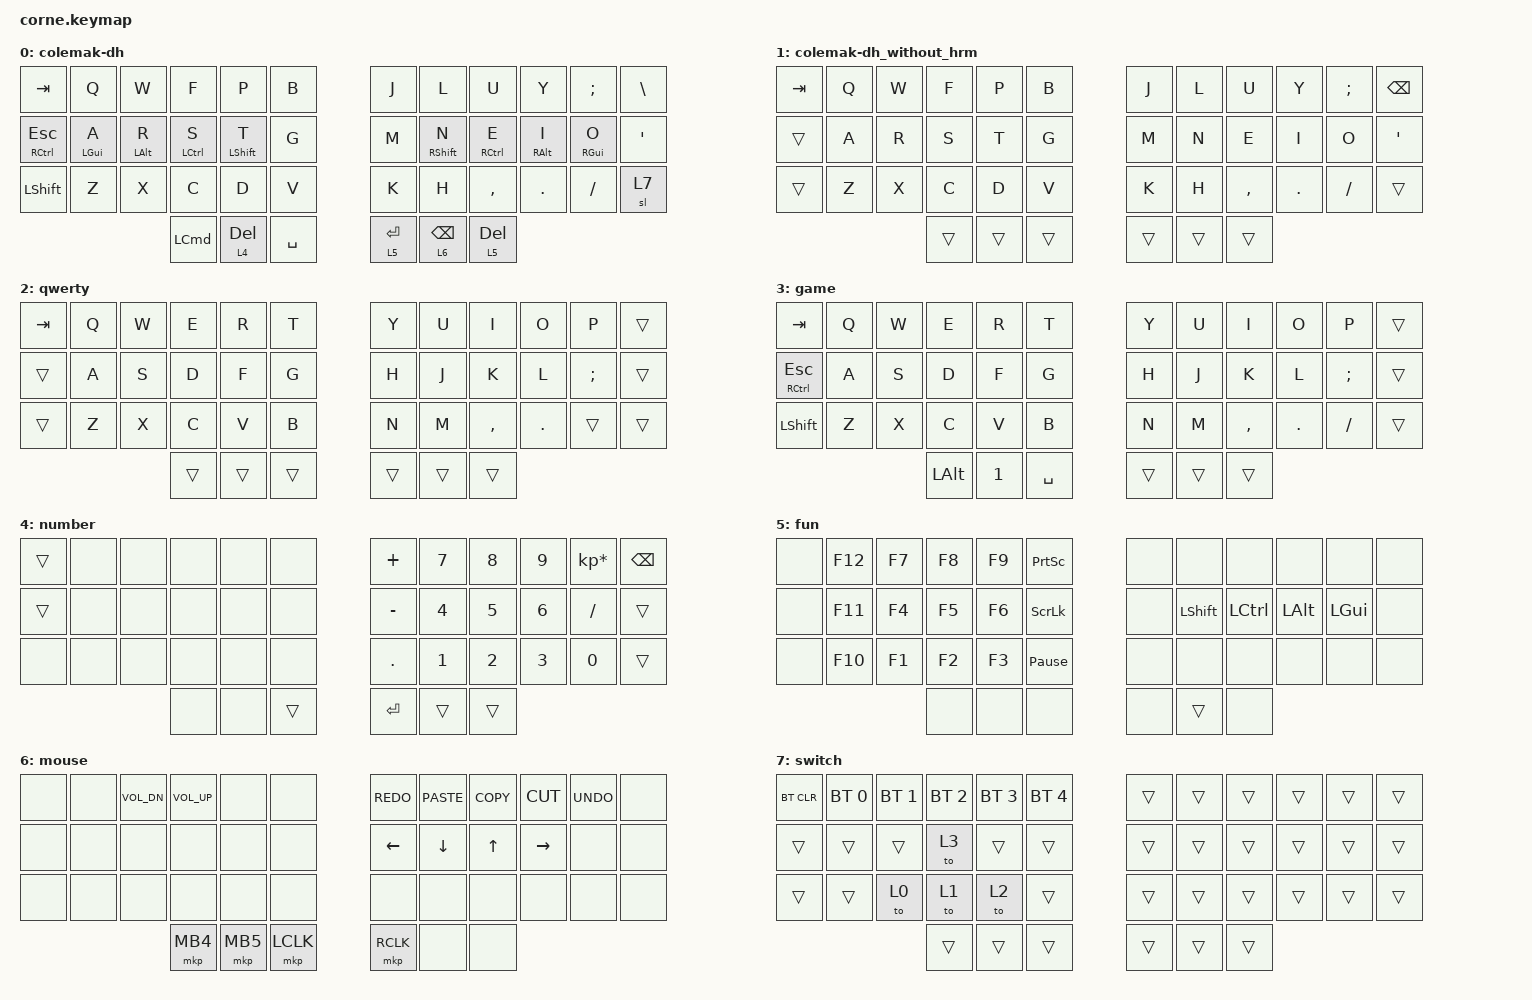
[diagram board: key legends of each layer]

#ifndef ZMK_BEHAVIORS_KEEP_ALL
#define ZMK_BEHAVIORS_KEEP_ALL
#endif
#define ZMK_MOUSE_DEFAULT_MOVE_VAL 1500  // 600
#define ZMK_MOUSE_DEFAULT_SCRL_VAL 20    // 10

#include <dt-bindings/zmk/pointing.h>
#include <behaviors.dtsi>
#include <dt-bindings/zmk/bt.h>
#include <dt-bindings/zmk/keys.h>



/ {
    combos {
        compatible = "zmk,combos";

        bracket {
            bindings = <&kp LEFT_PARENTHESIS>;
            key-positions = <19 20>;
        };

        bracket_r {
            bindings = <&kp RIGHT_PARENTHESIS>;
            key-positions = <21 20>;
        };

        lb {
            bindings = <&kp LEFT_BRACKET>;
            key-positions = <31 32>;
        };

        rb {
            bindings = <&kp RIGHT_BRACKET>;
            key-positions = <32 33>;
        };

        lf {
            bindings = <&kp LEFT_BRACE>;
            key-positions = <31 32>;
        };

        rba {
            bindings = <&kp RIGHT_BRACE>;
            key-positions = <32 33>;
        };

        plus {
            bindings = <&kp PLUS>;
            key-positions = <16 17>;
        };

        minus {
            bindings = <&kp MINUS>;
            key-positions = <19 18>;
        };

        caret {
            bindings = <&kp CARET>;
            key-positions = <7 8>;
        };

        underscore {
            bindings = <&kp UNDERSCORE>;
            key-positions = <30 31>;
        };

        multiplu {
            bindings = <&kp KP_ASTERISK>;
            key-positions = <9 10>;
        };

        pipe {
            bindings = <&kp PIPE>;
            key-positions = <21 22>;
        };

        and {
            bindings = <&kp AMPERSAND>;
            key-positions = <9 8>;
        };

        at {
            bindings = <&kp AT>;
            key-positions = <2 3>;
        };

        tick {
            bindings = <&kp GRAVE>;
            key-positions = <0 1>;
        };

        enter {
            bindings = <&kp ENTER>;
            key-positions = <37 38>;
        };

        hash {
            bindings = <&kp HASH>;
            key-positions = <3 4>;
        };

        dollar {
            bindings = <&kp TILDE>;
            key-positions = <4 5>;
        };

        equal {
            bindings = <&kp EQUAL>;
            key-positions = <28 29>;
        };

        percent {
            bindings = <&kp PERCENT>;
            key-positions = <6 7>;
        };

        tilde {
            bindings = <&kp DOLLAR>;
            key-positions = <15 16>;
        };

        exam {
            bindings = <&kp EXCL>;
            key-positions = <1 2>;
        };
    };

    macros {
        love: love {
            compatible = "zmk,behavior-macro";
            #binding-cells = <0>;
            bindings = <&none &kp X &kp I &kp A &kp O &kp SPACE &kp Y &kp A &kp N &kp G &kp COMMA &kp SPACE &kp LS(I) &kp SPACE &kp L &kp O &kp V &kp E &kp SPACE &kp Y &kp O &kp U &kp COMMA &kp SPACE &kp F &kp O &kp R &kp SPACE &kp E &kp V &kp E &kp R &kp Y &kp SPACE &kp T &kp H &kp I &kp N &kp G &kp SPACE &kp W &kp E &kp SPACE &kp H &kp A &kp V &kp E &kp SPACE &kp B &kp E &kp E &kp N &kp SPACE &kp T &kp H &kp R &kp O &kp U &kp G &kp H &kp COMMA &kp SPACE &kp LS(I) &kp SPACE &kp A &kp M &kp SPACE &kp R &kp O &kp O &kp T &kp I &kp N &kp G &kp SPACE &kp F &kp O &kp R &kp SPACE &kp Y &kp O &kp U>;
        };
    };

    behaviors {
        hml: homewrow_mods_left {
            compatible = "zmk,behavior-hold-tap";
            bindings = <&kp>, <&kp>;

            #binding-cells = <2>;
            hold-trigger-key-positions = <6 7 9 8 10 11 23 22 35 34 33 21 20 19 18 30 31 32 41 40 39>;
            tapping-term-ms = <300>;
            flavor = "balanced";
            quick-tap-ms = <175>;
            require-prior-idle-ms = <250>;
            hold-trigger-on-release;
        };

        hmr: hmr {
            compatible = "zmk,behavior-hold-tap";
            bindings = <&kp>, <&kp>;

            #binding-cells = <2>;
            tapping-term-ms = <300>;
            hold-trigger-key-positions = <0 1 2 3 4 5 12 13 14 15 16 17 24 25 26 27 28 29 36 37 38>;
            flavor = "balanced";
            quick-tap-ms = <175>;
            require-prior-idle-ms = <250>;
            hold-trigger-on-release;
        };
    };

    keymap {
        compatible = "zmk,keymap";

        colemak-dh {
            bindings = <
&kp TAB           &kp Q            &kp W            &kp F         &kp P              &kp B        &kp J        &kp L               &kp U                 &kp Y             &kp SEMI     &kp BACKSLASH
&mt RCTRL ESCAPE  &hml LEFT_GUI A  &hml LEFT_ALT R  &hml LCTRL S  &hml LEFT_SHIFT T  &kp G        &kp M        &hmr RIGHT_SHIFT N  &hmr RIGHT_CONTROL E  &hmr RIGHT_ALT I  &hmr RGUI O  &kp APOS
&kp LSHFT         &kp Z            &kp X            &kp C         &kp D              &kp V        &kp K        &kp H               &kp COMMA             &kp DOT           &kp FSLH     &sl 7
                                                    &kp LCMD      &lt 4 DELETE       &kp SPACE    &lt 5 ENTER  &lt 6 BACKSPACE     &lt 5 DELETE
            >;
        };

        colemak-dh_without_hrm {
            bindings = <
&kp TAB  &kp Q  &kp W  &kp F   &kp P   &kp B     &kp J   &kp L   &kp U      &kp Y    &kp SEMI  &kp BSPC
&trans   &kp A  &kp R  &kp S   &kp T   &kp G     &kp M   &kp N   &kp E      &kp I    &kp O     &kp APOS
&trans   &kp Z  &kp X  &kp C   &kp D   &kp V     &kp K   &kp H   &kp COMMA  &kp DOT  &kp FSLH  &trans
                       &trans  &trans  &trans    &trans  &trans  &trans
            >;
        };

        qwerty {
            bindings = <
&kp TAB  &kp Q  &kp W  &kp E   &kp R   &kp T     &kp Y   &kp U   &kp I      &kp O    &kp P     &trans
&trans   &kp A  &kp S  &kp D   &kp F   &kp G     &kp H   &kp J   &kp K      &kp L    &kp SEMI  &trans
&trans   &kp Z  &kp X  &kp C   &kp V   &kp B     &kp N   &kp M   &kp COMMA  &kp DOT  &trans    &trans
                       &trans  &trans  &trans    &trans  &trans  &trans
            >;
        };

        game {
            bindings = <
&kp TAB           &kp Q  &kp W  &kp E     &kp R   &kp T        &kp Y   &kp U   &kp I      &kp O    &kp P     &trans
&mt RCTRL ESCAPE  &kp A  &kp S  &kp D     &kp F   &kp G        &kp H   &kp J   &kp K      &kp L    &kp SEMI  &trans
&kp LSHFT         &kp Z  &kp X  &kp C     &kp V   &kp B        &kp N   &kp M   &kp COMMA  &kp DOT  &kp FSLH  &trans
                                &kp LALT  &kp N1  &kp SPACE    &trans  &trans  &trans
            >;
        };

        number {
            // -----------------------------------------------------------------------------------------
            // |  TAB |  1  |  2  |  3  |  4  |  5  |   |  6  |  7  |  8  |  9  |  0  | BKSP |
            // | BTCLR| BT1 | BT2 | BT3 | BT4 | BT5 |   | LFT | DWN |  UP | RGT |     |      |
            // | SHFT |     |     |     |     |     |   |     |     |     |     |     |      |
            //                    | GUI |     | SPC |   | ENT |     | ALT |

            bindings = <
&trans  &none  &none  &none  &none  &none     &kp PLUS   &kp N7  &kp N8  &kp N9  &kp KP_MULTIPLY  &kp BSPC
&trans  &none  &none  &none  &none  &none     &kp MINUS  &kp N4  &kp N5  &kp N6  &kp FSLH         &trans
&none   &none  &none  &none  &none  &none     &kp DOT    &kp N1  &kp N2  &kp N3  &kp N0           &trans
                      &none  &none  &trans    &kp RET    &trans  &trans
            >;
        };

        fun {
            bindings = <
&none  &kp F12  &kp F7  &kp F8  &kp F9  &kp PRINTSCREEN    &none  &none      &none      &none     &none     &none
&none  &kp F11  &kp F4  &kp F5  &kp F6  &kp SCROLLLOCK     &none  &kp LSHFT  &kp LCTRL  &kp LALT  &kp LGUI  &none
&none  &kp F10  &kp F1  &kp F2  &kp F3  &kp PAUSE_BREAK    &none  &none      &none      &none     &none     &none
                        &none   &none   &none              &none  &trans     &none
            >;
        };

        mouse {
            bindings = <
&none  &none  &kp C_VOL_DN  &kp C_VOLUME_UP  &none     &none        &kp K_REDO      &kp K_PASTE  &kp K_COPY    &kp K_CUT  &kp K_UNDO  &none
&none  &none  &none         &none            &none     &none        &kp LEFT_ARROW  &kp DOWN     &kp UP_ARROW  &kp RIGHT  &none       &none
&none  &none  &none         &none            &none     &none        &none           &none        &none         &none      &none       &none
                            &mkp MB4         &mkp MB5  &mkp LCLK    &mkp RCLK       &none        &none
            >;
        };

        switch {
            bindings = <
&bt BT_CLR  &bt BT_SEL 0  &bt BT_SEL 1  &bt BT_SEL 2  &bt BT_SEL 3  &bt BT_SEL 4    &trans  &trans  &trans  &trans  &trans  &trans
&trans      &trans        &trans        &to 3         &trans        &trans          &trans  &trans  &trans  &trans  &trans  &trans
&trans      &trans        &to 0         &to 1         &to 2         &trans          &trans  &trans  &trans  &trans  &trans  &trans
                                        &trans        &trans        &trans          &trans  &trans  &trans
            >;

            display-name = "switch";
        };

    };

    conditional_layers {
        compatible = "zmk,conditional-layers";

        switch {
            if-layers = <5 4>;
            then-layer = <7>;
        };
    };
};
